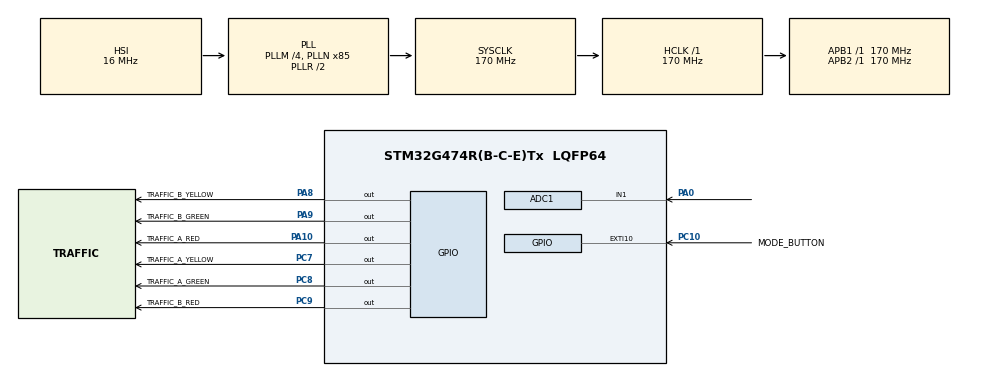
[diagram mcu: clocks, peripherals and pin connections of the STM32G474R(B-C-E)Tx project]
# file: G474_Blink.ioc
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ADC1.Channel-0\#ChannelRegularConversion=ADC_CHANNEL_1
ADC1.NbrOfConversionFlag=1
ADC1.OffsetNumber-0\#ChannelRegularConversion=ADC_OFFSET_NONE
ADC1.Rank-0\#ChannelRegularConversion=1
ADC1.SamplingTime-0\#ChannelRegularConversion=ADC_SAMPLETIME_2CYCLES_5
ADC1.master=1
Mcu.Family=STM32G4
Mcu.Name=STM32G474R(B-C-E)Tx
Mcu.Package=LQFP64
NUCLEO-G474RE.BUTTON=1
NUCLEO-G474RE.LD2=true
NUCLEO-G474RE.VCP=true
NVIC.EXTI15_10_IRQn=true\:0\:0\:false\:false\:true\:false\:true\:true
NVIC.PriorityGroup=NVIC_PRIORITYGROUP_4
NVIC.TIM6_DAC_IRQn=true\:0\:0\:false\:false\:true\:true\:true\:true
PA0.Mode=IN1-Single-Ended
PA0.Signal=ADC1_IN1
PA10.GPIO_Label=TRAFFIC_A_RED
PA10.Signal=GPIO_Output
PA13.GPIO_Label=T_SWDIO
PA13.Signal=SYS_JTMS-SWDIO
PA14.GPIO_Label=T_SWCLK
PA14.Signal=SYS_JTCK-SWCLK
PA2.Signal=LPUART1_TX
PA3.Signal=LPUART1_RX
PA8.GPIO_Label=TRAFFIC_B_YELLOW
PA8.Signal=GPIO_Output
PA9.GPIO_Label=TRAFFIC_B_GREEN
PA9.Signal=GPIO_Output
PB3.GPIO_Label=T_SWO
PB3.Signal=SYS_JTDO-SWO
PC10.GPIO_Label=MODE_BUTTON
PC10.GPIO_ModeDefaultEXTI=GPIO_MODE_IT_FALLING
PC10.GPIO_PuPd=GPIO_PULLUP
PC10.Signal=GPXTI10
PC14-OSC32_IN.GPIO_Label=RCC_OSC32_IN
PC14-OSC32_IN.Signal=RCC_OSC32_IN
PC15-OSC32_OUT.GPIO_Label=RCC_OSC32_OUT
PC15-OSC32_OUT.Signal=RCC_OSC32_OUT
PC7.GPIO_Label=TRAFFIC_A_YELLOW
PC7.Signal=GPIO_Output
PC8.GPIO_Label=TRAFFIC_A_GREEN
PC8.Signal=GPIO_Output
PC9.GPIO_Label=TRAFFIC_B_RED
PC9.Signal=GPIO_Output
PF0-OSC_IN.GPIO_Label=RCC_OSC_IN
PF0-OSC_IN.Signal=RCC_OSC_IN
PF1-OSC_OUT.GPIO_Label=RCC_OSC_OUT
PF1-OSC_OUT.Signal=RCC_OSC_OUT
ProjectManager.HeapSize=0x200
ProjectManager.StackSize=0x400
ProjectManager.TargetToolchain=STM32CubeIDE
RCC.ADC12Freq_Value=170000000
RCC.ADC345Freq_Value=170000000
RCC.AHBFreq_Value=170000000
RCC.APB1Freq_Value=170000000
RCC.APB1TimFreq_Value=170000000
RCC.APB2Freq_Value=170000000
RCC.APB2TimFreq_Value=170000000
RCC.CortexFreq_Value=170000000
RCC.EXTERNAL_CLOCK_VALUE=12288000
RCC.HCLKFreq_Value=170000000
RCC.HSE_VALUE=24000000
RCC.HSI48_VALUE=48000000
RCC.HSI_VALUE=16000000
RCC.LSE_VALUE=32768
RCC.PLLM=RCC_PLLM_DIV4
RCC.PLLN=85
RCC.RTCClockSelection=RCC_RTCCLKSOURCE_LSE
RCC.SYSCLKFreq_VALUE=170000000
RCC.SYSCLKSource=RCC_SYSCLKSOURCE_PLLCLK
RCC.USBFreq_Value=170000000
RCC.VCOOutputFreq_Value=340000000
TIM6.PeriodNoDither=9
TIM6.Prescaler=16999
VP_NUCLEO-G474RE_VS_BSP_COMMON.Mode=COMMON
VP_SYS_VS_DBSignals.Mode=DisableDeadBatterySignals
VP_TIM6_VS_ClockSourceINT.Mode=Enable_Timer
board=NUCLEO-G474RE

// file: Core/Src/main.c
/* USER CODE BEGIN Header */
/**
  ******************************************************************************
  * @file           : main.c
  * @brief          : Main program body
  ******************************************************************************
  * @attention
  *
  * Copyright (c) 2026 STMicroelectronics.
  * All rights reserved.
  *
  * This software is licensed under terms that can be found in the LICENSE file
  * in the root directory of this software component.
  * If no LICENSE file comes with this software, it is provided AS-IS.
  *
  ******************************************************************************
  */
/* USER CODE END Header */
#include "main.h"

/* USER CODE BEGIN Includes */
#include <stdbool.h>
/* USER CODE END Includes */

/* USER CODE BEGIN PD */
#define GREEN_TIME_MS	5000U
#define YELLOW_TIME_MS	2000U
#define ALL_RED_TIME_MS	1000U
#define FLASH_TIME_MS	500U

/* USER CODE END PD */

COM_InitTypeDef BspCOMInit;
ADC_HandleTypeDef hadc1;

TIM_HandleTypeDef htim6;

/* USER CODE BEGIN PV */
uint32_t adc_value = 0;
uint32_t green_time_ms = GREEN_TIME_MS;
uint32_t active_green_time_ms = GREEN_TIME_MS;
int32_t filtered_adc = 0;
uint32_t fault_reset_start_ms = 0;
uint8_t fault_reset_timing = 0;
//volatile uint8_t traffic_mode = 0;
volatile uint8_t mode_changed = 0;
volatile uint8_t mode_button_pressed = 0;
volatile uint8_t button_ready = 1;
volatile uint8_t traffic_fault = 0;
//uint8_t traffic_state = 0;
typedef enum
{
	A_GREEN,
	A_YELLOW,
	ALL_RED_TO_B,
	B_GREEN,
	B_YELLOW,
	ALL_RED_TO_A,
} TrafficState;

TrafficState traffic_state = A_GREEN;

volatile TrafficMode traffic_mode = MODE_AUTO;

volatile uint32_t traffic_timer = 0;
volatile uint32_t system_ms = 0;
//uint32_t old_blink_period = 0;
float adc_voltage = 0.0f;
/* USER CODE END PV */

void SystemClock_Config(void);
static void MX_GPIO_Init(void);
static void MX_TIM6_Init(void);
static void MX_ADC1_Init(void);
/* USER CODE BEGIN PFP */
void SetTrafficA(uint8_t red, uint8_t yellow, uint8_t green);
void SetTrafficB(uint8_t red, uint8_t yellow, uint8_t green);
void ProcessModeButton(void);
void InitializeTrafficMode(void);
void RunAutomaticTraffic(void);
void RunFourWayStop(void);
void RunTwoWayStop(void);
void ReadPotentiometer(void);
void CheckTrafficFaults(void);
void HandleTrafficFaults(void);
/* USER CODE END PFP */

int main(void)
{

  /* MCU Configuration--------------------------------------------------------*/

  /* Reset of all peripherals, Initializes the Flash interface and the Systick. */
  HAL_Init();

  /* Configure the system clock */
  SystemClock_Config();

  /* Initialize all configured peripherals */
  MX_GPIO_Init();
  MX_TIM6_Init();
  MX_ADC1_Init();
  /* USER CODE BEGIN 2 */
  HAL_TIM_Base_Start_IT(&htim6);

  /* USER CODE END 2 */

  /* Initialize led */
  BSP_LED_Init(LED_GREEN);

  /* Initialize USER push-button, will be used to trigger an interrupt each time it's pressed.*/
  BSP_PB_Init(BUTTON_USER, BUTTON_MODE_EXTI);

  /* Initialize COM1 port (115200, 8 bits (7-bit data + 1 stop bit), no parity */
  BspCOMInit.BaudRate   = 115200;
  BspCOMInit.WordLength = COM_WORDLENGTH_8B;
  BspCOMInit.StopBits   = COM_STOPBITS_1;
  BspCOMInit.Parity     = COM_PARITY_NONE;
  BspCOMInit.HwFlowCtl  = COM_HWCONTROL_NONE;
  if (BSP_COM_Init(COM1, &BspCOMInit) != BSP_ERROR_NONE)
  {
    Error_Handler();
  }

  /* Infinite loop */
  while (1)
  {

    /* USER CODE BEGIN 3 */
	  ProcessModeButton();
	  InitializeTrafficMode();
	  ReadPotentiometer();

	  switch (traffic_mode)
	  {
	  	  case MODE_AUTO:
	  		  /* Automatic traffic light sequence */
	  		  RunAutomaticTraffic();
			  break;
	  	  case MODE_FOUR_WAY_STOP:
	  		  /* 4-way stop - flash both RED */
	  		  RunFourWayStop();
			  break;
	  	  case MODE_TWO_WAY_STOP:
	  		  /* 2-way stop
	  		     Traffic A = Flashing YELLOW
	  		     Traffic B = Flashing RED */
	  		  RunTwoWayStop();
			  break;
          case MODE_FAULT:
              SetTrafficA(1, 0, 0);
              SetTrafficB(1, 0, 0);
              break;
	  	  default:
	  		traffic_mode = MODE_AUTO;
	  		mode_changed = 1;
	  		break;
	  }
	  CheckTrafficFaults();
	  HandleTrafficFaults();
  }
  /* USER CODE END 3 */
}

void SystemClock_Config(void)
{
  RCC_OscInitTypeDef RCC_OscInitStruct = {0};
  RCC_ClkInitTypeDef RCC_ClkInitStruct = {0};

  /** Configure the main internal regulator output voltage
  */
  HAL_PWREx_ControlVoltageScaling(PWR_REGULATOR_VOLTAGE_SCALE1_BOOST);

  /** Initializes the RCC Oscillators according to the specified parameters
  * in the RCC_OscInitTypeDef structure.
  */
  RCC_OscInitStruct.OscillatorType = RCC_OSCILLATORTYPE_HSI;
  RCC_OscInitStruct.HSIState = RCC_HSI_ON;
  RCC_OscInitStruct.HSICalibrationValue = RCC_HSICALIBRATION_DEFAULT;
  RCC_OscInitStruct.PLL.PLLState = RCC_PLL_ON;
  RCC_OscInitStruct.PLL.PLLSource = RCC_PLLSOURCE_HSI;
  RCC_OscInitStruct.PLL.PLLM = RCC_PLLM_DIV4;
  RCC_OscInitStruct.PLL.PLLN = 85;
  RCC_OscInitStruct.PLL.PLLP = RCC_PLLP_DIV2;
  RCC_OscInitStruct.PLL.PLLQ = RCC_PLLQ_DIV2;
  RCC_OscInitStruct.PLL.PLLR = RCC_PLLR_DIV2;
  if (HAL_RCC_OscConfig(&RCC_OscInitStruct) != HAL_OK)
  {
    Error_Handler();
  }

  /** Initializes the CPU, AHB and APB buses clocks
  */
  RCC_ClkInitStruct.ClockType = RCC_CLOCKTYPE_HCLK|RCC_CLOCKTYPE_SYSCLK
                              |RCC_CLOCKTYPE_PCLK1|RCC_CLOCKTYPE_PCLK2;
  RCC_ClkInitStruct.SYSCLKSource = RCC_SYSCLKSOURCE_PLLCLK;
  RCC_ClkInitStruct.AHBCLKDivider = RCC_SYSCLK_DIV1;
  RCC_ClkInitStruct.APB1CLKDivider = RCC_HCLK_DIV1;
  RCC_ClkInitStruct.APB2CLKDivider = RCC_HCLK_DIV1;

  if (HAL_RCC_ClockConfig(&RCC_ClkInitStruct, FLASH_LATENCY_4) != HAL_OK)
  {
    Error_Handler();
  }
}

static void MX_ADC1_Init(void)
{

  ADC_MultiModeTypeDef multimode = {0};
  ADC_ChannelConfTypeDef sConfig = {0};

  /** Common config
  */
  hadc1.Instance = ADC1;
  hadc1.Init.ClockPrescaler = ADC_CLOCK_SYNC_PCLK_DIV4;
  hadc1.Init.Resolution = ADC_RESOLUTION_12B;
  hadc1.Init.DataAlign = ADC_DATAALIGN_RIGHT;
  hadc1.Init.GainCompensation = 0;
  hadc1.Init.ScanConvMode = ADC_SCAN_DISABLE;
  hadc1.Init.EOCSelection = ADC_EOC_SINGLE_CONV;
  hadc1.Init.LowPowerAutoWait = DISABLE;
  hadc1.Init.ContinuousConvMode = DISABLE;
  hadc1.Init.NbrOfConversion = 1;
  hadc1.Init.DiscontinuousConvMode = DISABLE;
  hadc1.Init.ExternalTrigConv = ADC_SOFTWARE_START;
  hadc1.Init.ExternalTrigConvEdge = ADC_EXTERNALTRIGCONVEDGE_NONE;
  hadc1.Init.DMAContinuousRequests = DISABLE;
  hadc1.Init.Overrun = ADC_OVR_DATA_PRESERVED;
  hadc1.Init.OversamplingMode = DISABLE;
  if (HAL_ADC_Init(&hadc1) != HAL_OK)
  {
    Error_Handler();
  }

  /** Configure the ADC multi-mode
  */
  multimode.Mode = ADC_MODE_INDEPENDENT;
  if (HAL_ADCEx_MultiModeConfigChannel(&hadc1, &multimode) != HAL_OK)
  {
    Error_Handler();
  }

  /** Configure Regular Channel
  */
  sConfig.Channel = ADC_CHANNEL_1;
  sConfig.Rank = ADC_REGULAR_RANK_1;
  sConfig.SamplingTime = ADC_SAMPLETIME_2CYCLES_5;
  sConfig.SingleDiff = ADC_SINGLE_ENDED;
  sConfig.OffsetNumber = ADC_OFFSET_NONE;
  sConfig.Offset = 0;
  if (HAL_ADC_ConfigChannel(&hadc1, &sConfig) != HAL_OK)
  {
    Error_Handler();
  }

}

static void MX_TIM6_Init(void)
{

  TIM_MasterConfigTypeDef sMasterConfig = {0};

  htim6.Instance = TIM6;
  htim6.Init.Prescaler = 16999;
  htim6.Init.CounterMode = TIM_COUNTERMODE_UP;
  htim6.Init.Period = 9;
  htim6.Init.AutoReloadPreload = TIM_AUTORELOAD_PRELOAD_DISABLE;
  if (HAL_TIM_Base_Init(&htim6) != HAL_OK)
  {
    Error_Handler();
  }
  sMasterConfig.MasterOutputTrigger = TIM_TRGO_RESET;
  sMasterConfig.MasterSlaveMode = TIM_MASTERSLAVEMODE_DISABLE;
  if (HAL_TIMEx_MasterConfigSynchronization(&htim6, &sMasterConfig) != HAL_OK)
  {
    Error_Handler();
  }

}

static void MX_GPIO_Init(void)
{
  GPIO_InitTypeDef GPIO_InitStruct = {0};

  /* GPIO Ports Clock Enable */
  __HAL_RCC_GPIOC_CLK_ENABLE();
  __HAL_RCC_GPIOF_CLK_ENABLE();
  __HAL_RCC_GPIOA_CLK_ENABLE();
  __HAL_RCC_GPIOB_CLK_ENABLE();

  /*Configure GPIO pin Output Level */
  HAL_GPIO_WritePin(GPIOC, TRAFFIC_A_YELLOW_Pin|TRAFFIC_A_GREEN_Pin|TRAFFIC_B_RED_Pin, GPIO_PIN_RESET);

  /*Configure GPIO pin Output Level */
  HAL_GPIO_WritePin(GPIOA, TRAFFIC_B_YELLOW_Pin|TRAFFIC_B_GREEN_Pin|TRAFFIC_A_RED_Pin, GPIO_PIN_RESET);

  /*Configure GPIO pins : TRAFFIC_A_YELLOW_Pin TRAFFIC_A_GREEN_Pin TRAFFIC_B_RED_Pin */
  GPIO_InitStruct.Pin = TRAFFIC_A_YELLOW_Pin|TRAFFIC_A_GREEN_Pin|TRAFFIC_B_RED_Pin;
  GPIO_InitStruct.Mode = GPIO_MODE_OUTPUT_PP;
  GPIO_InitStruct.Pull = GPIO_NOPULL;
  GPIO_InitStruct.Speed = GPIO_SPEED_FREQ_LOW;
  HAL_GPIO_Init(GPIOC, &GPIO_InitStruct);

  /*Configure GPIO pins : TRAFFIC_B_YELLOW_Pin TRAFFIC_B_GREEN_Pin TRAFFIC_A_RED_Pin */
  GPIO_InitStruct.Pin = TRAFFIC_B_YELLOW_Pin|TRAFFIC_B_GREEN_Pin|TRAFFIC_A_RED_Pin;
  GPIO_InitStruct.Mode = GPIO_MODE_OUTPUT_PP;
  GPIO_InitStruct.Pull = GPIO_NOPULL;
  GPIO_InitStruct.Speed = GPIO_SPEED_FREQ_LOW;
  HAL_GPIO_Init(GPIOA, &GPIO_InitStruct);

  /*Configure GPIO pin : MODE_BUTTON_Pin */
  GPIO_InitStruct.Pin = MODE_BUTTON_Pin;
  GPIO_InitStruct.Mode = GPIO_MODE_IT_FALLING;
  GPIO_InitStruct.Pull = GPIO_PULLUP;
  HAL_GPIO_Init(MODE_BUTTON_GPIO_Port, &GPIO_InitStruct);

  /* EXTI interrupt init*/
  HAL_NVIC_SetPriority(EXTI15_10_IRQn, 0, 0);
  HAL_NVIC_EnableIRQ(EXTI15_10_IRQn);

}

/* USER CODE BEGIN 4 */

void HandleTrafficFaults(void)
{
	if (traffic_fault)
	{
		SetTrafficA(1, 0, 0);
		SetTrafficB(1, 0, 0);
	}
}

void CheckTrafficFaults(void)
{
	GPIO_PinState traffic_a_green;
	GPIO_PinState traffic_b_green;

	traffic_a_green = HAL_GPIO_ReadPin(TRAFFIC_A_GREEN_GPIO_Port, TRAFFIC_A_GREEN_Pin);
	traffic_b_green = HAL_GPIO_ReadPin(TRAFFIC_B_GREEN_GPIO_Port, TRAFFIC_B_GREEN_Pin);

	if ((traffic_a_green == GPIO_PIN_SET) && (traffic_b_green == GPIO_PIN_SET))
	{
		traffic_fault = 1;
		traffic_mode = MODE_FAULT;
		mode_changed = 1;
	}
}

void ReadPotentiometer(void)
{
	HAL_ADC_Start(&hadc1);

	if (HAL_ADC_PollForConversion(&hadc1, 10) == HAL_OK)
	{
		adc_value = HAL_ADC_GetValue(&hadc1);
		filtered_adc = filtered_adc + (((int32_t)adc_value - filtered_adc)/ 16);
		green_time_ms = 2000U + (((uint32_t)filtered_adc * 8000U) / 4095u);
	}
	HAL_ADC_Stop(&hadc1);
}
void RunTwoWayStop(void)
{
	  if (traffic_timer >= FLASH_TIME_MS)
	  {
		  HAL_GPIO_TogglePin(TRAFFIC_A_YELLOW_GPIO_Port, TRAFFIC_A_YELLOW_Pin);
		  HAL_GPIO_TogglePin(TRAFFIC_B_RED_GPIO_Port, TRAFFIC_B_RED_Pin);
		  traffic_timer = 0;
	  }
}

void RunFourWayStop(void)
{
	  if (traffic_timer >= FLASH_TIME_MS)
	  {
		  HAL_GPIO_TogglePin(TRAFFIC_A_RED_GPIO_Port, TRAFFIC_A_RED_Pin);
		  HAL_GPIO_TogglePin(TRAFFIC_B_RED_GPIO_Port, TRAFFIC_B_RED_Pin);
		  traffic_timer = 0;
	  }
}

void RunAutomaticTraffic(void)
{
	  switch (traffic_state)
	  {
	  	  case A_GREEN:
	  		/* Traffic A Green Traffic B Red*/
	  		  SetTrafficA(0, 0, 1);

	  		  SetTrafficB(1, 0, 0); //test

	  		  if (traffic_timer >= active_green_time_ms)
	  		  {
	  			  traffic_state = A_YELLOW;
	  			  traffic_timer = 0;
	  		  }
	  		  break;
	  	    case A_YELLOW:
	  	    /* Traffic A yellow Traffic B Red*/
		  		  SetTrafficA(0, 1, 0);

		  		  SetTrafficB(1, 0, 0);

	  	    	if (traffic_timer >= YELLOW_TIME_MS)
	  	    	{
	  	    		traffic_state = ALL_RED_TO_B;
	  	    		traffic_timer = 0;
	  	    	}
	  	    	break;
	  	     case ALL_RED_TO_B:
	  		 /* ALL RED clearance */
		  		  SetTrafficA(1, 0, 0);

		  		  SetTrafficB(1, 0, 0);

	  	    	 if (traffic_timer >= ALL_RED_TIME_MS)
	  	    	 {
	  	    		 active_green_time_ms = green_time_ms;
	  	    		 traffic_state = B_GREEN;
	  	    		 traffic_timer = 0;
	  	    	 }
	  	    	 break;
		  	  case B_GREEN:
		  		/* Traffic A Red Traffic B Green */
		  		  SetTrafficA(1, 0, 0);

		  		  SetTrafficB(0, 0, 1);

		  		  if (traffic_timer >= active_green_time_ms)
		  		  {
		  			  traffic_state = B_YELLOW;
		  			  traffic_timer = 0;
		  		  }
		  		  break;
		  	    case B_YELLOW:
		  	    /* Traffic A Red Traffic B Yellow */
	  		  		  SetTrafficA(1, 0, 0);

	  		  		  SetTrafficB(0, 1, 0);

		  	    	if (traffic_timer >= YELLOW_TIME_MS)
		  	    	{
		  	    		traffic_state = ALL_RED_TO_A;
		  	    		traffic_timer = 0;
		  	    	}
		  	    	break;
		  	     case ALL_RED_TO_A:
		  		 /* ALL RED clearance */
	  		  		  SetTrafficA(1, 0, 0);

	  		  		  SetTrafficB(1, 0, 0);

		  	    	 if (traffic_timer >= ALL_RED_TIME_MS)
		  	    	 {
		  	    		 active_green_time_ms = green_time_ms;
		  	    		 traffic_state = A_GREEN;
		  	    		 traffic_timer = 0;
		  	    	 }
		  	    	 break;

	  }
}

void InitializeTrafficMode(void)
{
	  if (mode_changed)
	  {
		  mode_changed = 0;
		  traffic_timer = 0;
	        switch (traffic_mode)
	        {
	            case MODE_AUTO:
	            	active_green_time_ms = green_time_ms;
	                traffic_state = A_GREEN;
	                SetTrafficA(0, 0, 1);
	                SetTrafficB(1, 0, 0);
	                break;

	            case MODE_FOUR_WAY_STOP:
	                SetTrafficA(0, 0, 0);
	                SetTrafficB(0, 0, 0);
	                break;

	            case MODE_TWO_WAY_STOP:
	                SetTrafficA(0, 0, 0);
	                SetTrafficB(0, 0, 0);
	                break;
	            case MODE_FAULT:
	                SetTrafficA(1, 0, 0);
	                SetTrafficB(1, 0, 0);
	                break;
	        }
	  }

}

void ProcessModeButton(void)
{
	if (traffic_fault)
	{
		if (HAL_GPIO_ReadPin(MODE_BUTTON_GPIO_Port, MODE_BUTTON_Pin) == GPIO_PIN_RESET)
		{
			/* Button is being held down */
			if (!fault_reset_timing)
			{
				fault_reset_start_ms = system_ms;
				fault_reset_timing = 1;
			}
			if ((system_ms - fault_reset_start_ms) >= FAULT_RESET_TIME_MS)
			{
				traffic_fault = 0;
				traffic_mode = MODE_AUTO;
				mode_changed = 1;
				mode_button_pressed = 0;
				button_ready = 0;
			}
		}
		else
		{
			/* Button was released before 2 seconds */
			fault_reset_timing = 0;
		}
		return;
	}
	/* Re-Arm after the button has been released */
	if(HAL_GPIO_ReadPin(MODE_BUTTON_GPIO_Port, MODE_BUTTON_Pin) == GPIO_PIN_SET)
	{
		button_ready = 1;
	}
	  if(mode_button_pressed && button_ready && !traffic_fault)
	  {
		  mode_button_pressed = 0;
		  button_ready = 0;
		  //traffic_mode++;
		  switch (traffic_mode)
		  {
		  case MODE_AUTO:
			  traffic_mode = MODE_FOUR_WAY_STOP;
			  break;
		  case MODE_FOUR_WAY_STOP:
			  traffic_mode = MODE_TWO_WAY_STOP;
			  break;
		  case MODE_TWO_WAY_STOP:
			  traffic_mode = MODE_AUTO;
			  break;
		  case MODE_FAULT:
			  /* Fault mode cannot be changed with a normal button press */
		  }
		  mode_changed = 1;

		  traffic_timer = 0;
	  }

}

void SetTrafficA(uint8_t red, uint8_t yellow, uint8_t green)
{
	HAL_GPIO_WritePin(TRAFFIC_A_RED_GPIO_Port, TRAFFIC_A_RED_Pin, red ? GPIO_PIN_SET : GPIO_PIN_RESET);
	HAL_GPIO_WritePin(TRAFFIC_A_YELLOW_GPIO_Port, TRAFFIC_A_YELLOW_Pin, yellow ? GPIO_PIN_SET : GPIO_PIN_RESET);
	HAL_GPIO_WritePin(TRAFFIC_A_GREEN_GPIO_Port, TRAFFIC_A_GREEN_Pin, green ? GPIO_PIN_SET : GPIO_PIN_RESET);
}

void SetTrafficB(uint8_t red, uint8_t yellow, uint8_t green)
{
	HAL_GPIO_WritePin(TRAFFIC_B_RED_GPIO_Port, TRAFFIC_B_RED_Pin, red ? GPIO_PIN_SET : GPIO_PIN_RESET);
	HAL_GPIO_WritePin(TRAFFIC_B_YELLOW_GPIO_Port, TRAFFIC_B_YELLOW_Pin, yellow ? GPIO_PIN_SET : GPIO_PIN_RESET);
	HAL_GPIO_WritePin(TRAFFIC_B_GREEN_GPIO_Port, TRAFFIC_B_GREEN_Pin, green ? GPIO_PIN_SET : GPIO_PIN_RESET);
}

void HAL_GPIO_EXT1_Callback(uint16_t GPIO_Pin)
{
	if (GPIO_Pin == MODE_BUTTON_Pin)
	{
		HAL_GPIO_TogglePin(TRAFFIC_A_RED_GPIO_Port, TRAFFIC_A_RED_Pin);
	}
}

void HAL_TIM_PeriodElapsedCallback(TIM_HandleTypeDef *htim)
{
	if (htim->Instance == TIM6)
	{
		traffic_timer++;
		system_ms++;
	}
}

/*void BSP_PB_Callback(Button_TypeDef Button)
{
	static uint32_t last_press = 0;
	uint32_t now = HAL_GetTick();
	if (Button == BUTTON_USER)
	{
		if ((now - last_press) > 50)
		{
			if (blink_period == 1000)
			{
				blink_period = 500;
			} else if (blink_period == 500)
			{
				blink_period = 250;
			} else
			{
				blink_period = 1000;
			}

		//__HAL_TIM_SET_AUTORELOAD(&htim6, (blink_period * 10) - 1);
		//__HAL_TIM_SET_COUNTER(&htim6, 0);
			//blink_enabled = !blink_enabled;
			last_press = now;
		}
	}
}*/
/* USER CODE END 4 */

void Error_Handler(void)
{
  __disable_irq();
  while (1)
  {
  }
}
